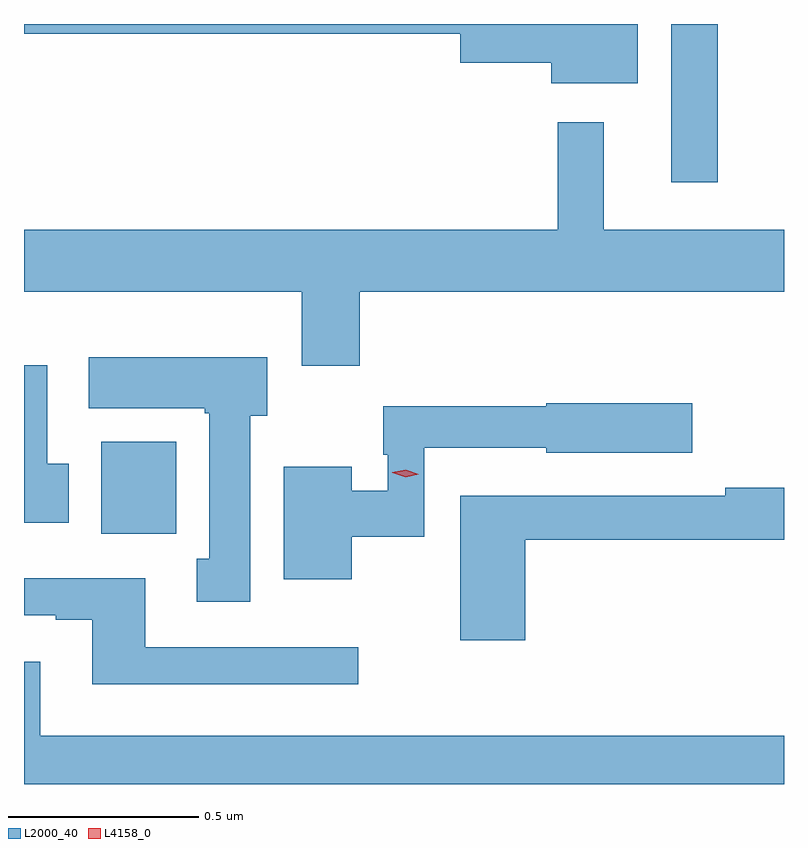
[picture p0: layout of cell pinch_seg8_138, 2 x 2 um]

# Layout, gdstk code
import gdstk
lib = gdstk.Library(unit=1e-6, precision=1e-09)
def R(c, l, rs):  # rectangles x0, y0, x1, y1
    for r in rs: c.add(gdstk.rectangle(r[:2], r[2:], *l))
def P(c, l, *ps):  # polygons
    for p in ps: c.add(gdstk.Polygon(p, *l))
L2000_40 = (2000, 40)
L4158_0 = (4158, 0)

pinch_seg8_138 = lib.new_cell('pinch_seg8_138')
R(pinch_seg8_138, L2000_40, [(771.347,1151.828,771.544,1152.07), (772.847,1152.753,772.969,1153.169)])
P(pinch_seg8_138, L2000_40, [(772.759,1153.169),(771.144,1153.169),(771.144,1153.144),(772.292,1153.144),(772.292,1153.067),(772.532,1153.067),(772.532,1153.013),(772.759,1153.013)],
  [(772.028,1152.464),(773.144,1152.464),(773.144,1152.628),(772.669,1152.628),(772.669,1152.91),(772.548,1152.91),(772.548,1152.628),(771.144,1152.628),(771.144,1152.464),(771.875,1152.464),(771.875,1152.27),(772.028,1152.27)],
  [(771.739,1152.138),(771.784,1152.138),(771.784,1152.292),(771.315,1152.292),(771.315,1152.158),(771.619,1152.158),(771.619,1152.145),(771.632,1152.145),(771.632,1151.762),(771.599,1151.762),(771.599,1151.649),(771.739,1151.649)],
  [(771.262,1152.012),(771.205,1152.012),(771.205,1152.271),(771.144,1152.271),(771.144,1151.856),(771.262,1151.856)],
  [(772.006,1151.82),(772.197,1151.82),(772.197,1152.054),(772.518,1152.054),(772.518,1152.041),(772.903,1152.041),(772.903,1152.171),(772.518,1152.171),(772.518,1152.163),(772.089,1152.163),(772.089,1152.036),(772.101,1152.036),(772.101,1151.941),(772.006,1151.941),(772.006,1152.004),(771.827,1152.004),(771.827,1151.708),(772.006,1151.708)],
  [(772.463,1151.812),(773.144,1151.812),(773.144,1151.948),(772.99,1151.948),(772.99,1151.928),(772.292,1151.928),(772.292,1151.547),(772.463,1151.547)],
  [(772.024,1151.529),(771.463,1151.529),(771.463,1151.71),(771.144,1151.71),(771.144,1151.613),(771.227,1151.613),(771.227,1151.601),(771.323,1151.601),(771.323,1151.432),(772.024,1151.432)],
  [(773.144,1151.296),(771.187,1151.296),(771.187,1151.491),(771.144,1151.491),(771.144,1151.169),(773.144,1151.169)])
P(pinch_seg8_138, L4158_0, [(772.148,1151.976),(772.113,1151.988),(772.113,1151.988),(772.113,1151.989),(772.149,1151.996),(772.183,1151.984),(772.183,1151.984),(772.183,1151.984)])

lib.write_gds('pinch_seg8_138.gds')
